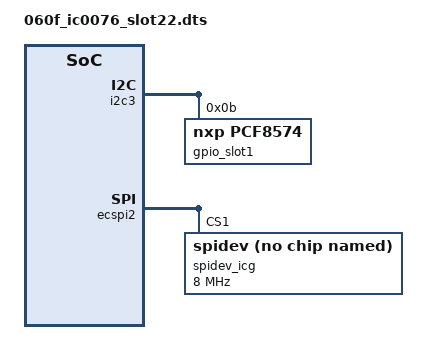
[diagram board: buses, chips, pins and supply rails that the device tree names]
/dts-v1/;
/plugin/;

/ {
 fragment@0 {
  target = <&i2c3>;
  __overlay__ {
      #address-cells = <1>;
      #size-cells = <0>;
         gpio_slot1: pca9501@11 {
          compatible = "nxp,pcf8574";
          gpio-controller;
          #gpio-cells = <2>;
          reg = <11>;
          gpio-line-names = "",
             "AccGyro_ICG_extInt",
             "AccGyro_MC_extInt_1",
             "AccGyro_MC_extInt_2",
             "",
             "",
             "",
             "";
         };
  };
 };

 fragment@1 {
  target = <&ecspi2>;
  __overlay__ {
         status = "okay";
         #address-cells = <1>;
         #size-cells = <0>;

   spidev_icg: spi@1 {
                compatible = "rohm,dh2228fv";
                reg = <1>;
                status = "okay";
                spi-max-frequency = <8000000>;
            };
   };
 };

};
